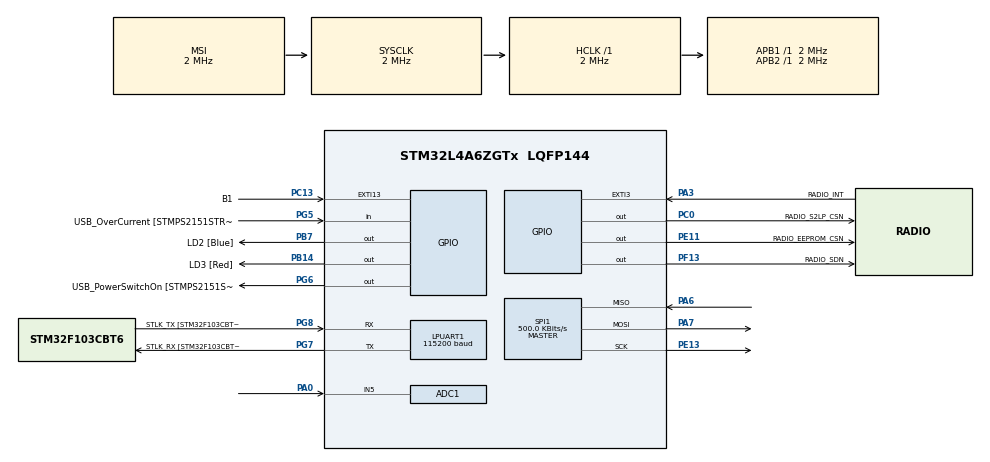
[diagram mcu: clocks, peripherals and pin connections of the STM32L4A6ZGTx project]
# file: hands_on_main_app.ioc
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ADC1.Channel-0\#ChannelRegularConversion=ADC_CHANNEL_5
ADC1.ClockPrescaler=ADC_CLOCK_ASYNC_DIV10
ADC1.DMAContinuousRequests=ENABLE
ADC1.ExternalTrigConv=ADC_EXTERNALTRIG_T3_TRGO
ADC1.NbrOfConversionFlag=1
ADC1.OffsetNumber-0\#ChannelRegularConversion=ADC_OFFSET_NONE
ADC1.Rank-0\#ChannelRegularConversion=1
ADC1.SamplingTime-0\#ChannelRegularConversion=ADC_SAMPLETIME_2CYCLES_5
ADC1.master=1
AES.Data\ encryption\ types\ list=AESCBC
AES.DataType=CRYP_DATATYPE_8B
AES.KeyWriteFlag=CRYP_KEY_WRITE_ENABLE
Dma.ADC1.0.Direction=DMA_PERIPH_TO_MEMORY
Dma.ADC1.0.Instance=DMA1_Channel1
Dma.ADC1.0.MemDataAlignment=DMA_MDATAALIGN_HALFWORD
Dma.ADC1.0.MemInc=DMA_MINC_ENABLE
Dma.ADC1.0.Mode=DMA_CIRCULAR
Dma.ADC1.0.PeriphDataAlignment=DMA_PDATAALIGN_HALFWORD
Dma.ADC1.0.PeriphInc=DMA_PINC_DISABLE
Dma.ADC1.0.Priority=DMA_PRIORITY_LOW
Dma.Request0=ADC1
LPUART1.AutoBaudRateEnableParam=UART_ADVFEATURE_AUTOBAUDRATE_DISABLE
LPUART1.BaudRate=115200
LPUART1.DMADisableonRxErrorParam=UART_ADVFEATURE_DMA_ENABLEONRXERROR
LPUART1.DataInvertParam=UART_ADVFEATURE_DATAINV_DISABLE
LPUART1.MSBFirstParam=UART_ADVFEATURE_MSBFIRST_DISABLE
LPUART1.Mode=UART_MODE_TX_RX
LPUART1.OneBitSampling=UART_ONE_BIT_SAMPLE_DISABLE
LPUART1.OverrunDisableParam=UART_ADVFEATURE_OVERRUN_ENABLE
LPUART1.Parity=UART_PARITY_NONE
LPUART1.RxPinLevelInvertParam=UART_ADVFEATURE_RXINV_DISABLE
LPUART1.StopBits=UART_STOPBITS_1
LPUART1.SwapParam=UART_ADVFEATURE_SWAP_DISABLE
LPUART1.TxPinLevelInvertParam=UART_ADVFEATURE_TXINV_DISABLE
LPUART1.WordLength=UART_WORDLENGTH_8B
Mcu.Family=STM32L4
Mcu.Name=STM32L4A6ZGTx
Mcu.Package=LQFP144
NVIC.DMA1_Channel1_IRQn=true\:1\:0\:true\:false\:true\:false\:true\:true
NVIC.EXTI15_10_IRQn=true\:0\:0\:false\:false\:true\:true\:true\:true
NVIC.EXTI3_IRQn=true\:0\:0\:false\:false\:true\:true\:true\:true
NVIC.PriorityGroup=NVIC_PRIORITYGROUP_4
NVIC.TIM3_IRQn=true\:0\:0\:true\:false\:true\:true\:true\:true
PA0.Signal=ADCx_IN5
PA10.GPIO_Label=USB_ID
PA10.Signal=USB_OTG_FS_ID
PA11.GPIO_Label=USB_DM
PA11.Signal=USB_OTG_FS_DM
PA12.GPIO_Label=USB_DP
PA12.Signal=USB_OTG_FS_DP
PA13\ (JTMS/SWDIO).GPIO_Label=TMS
PA13\ (JTMS/SWDIO).Mode=Trace_Asynchronous_SW
PA13\ (JTMS/SWDIO).Signal=SYS_JTMS-SWDIO
PA14\ (JTCK/SWCLK).GPIO_Label=TCK
PA14\ (JTCK/SWCLK).Mode=Trace_Asynchronous_SW
PA14\ (JTCK/SWCLK).Signal=SYS_JTCK-SWCLK
PA3.GPIO_Label=RADIO_INT
PA3.GPIO_ModeDefaultEXTI=GPIO_MODE_IT_FALLING
PA3.Signal=GPXTI3
PA6.Mode=Full_Duplex_Master
PA6.Signal=SPI1_MISO
PA7.Mode=Full_Duplex_Master
PA7.Signal=SPI1_MOSI
PA8.GPIO_Label=USB_SOF [TP1]
PA8.Signal=USB_OTG_FS_SOF
PA9.GPIO_Label=USB_VBUS
PA9.Signal=USB_OTG_FS_VBUS
PB14.GPIO_Label=LD3 [Red]
PB14.Signal=GPIO_Output
PB3\ (JTDO/TRACESWO).GPIO_Label=SWO
PB3\ (JTDO/TRACESWO).Mode=Trace_Asynchronous_SW
PB3\ (JTDO/TRACESWO).Signal=SYS_JTDO-SWO
PB7.GPIO_Label=LD2 [Blue]
PB7.Signal=GPIO_Output
PC0.GPIO_Label=RADIO_S2LP_CSN
PC0.GPIO_Speed=GPIO_SPEED_FREQ_VERY_HIGH
PC0.PinState=GPIO_PIN_SET
PC0.Signal=GPIO_Output
PC13.GPIO_Label=B1
PC13.GPIO_ModeDefaultEXTI=GPIO_MODE_IT_RISING
PC13.Signal=GPXTI13
PC14-OSC32_IN\ (PC14).Mode=LSE-External-Oscillator
PC14-OSC32_IN\ (PC14).Signal=RCC_OSC32_IN
PC15-OSC32_OUT\ (PC15).Mode=LSE-External-Oscillator
PC15-OSC32_OUT\ (PC15).Signal=RCC_OSC32_OUT
PE11.GPIO_Label=RADIO_EEPROM_CSN
PE11.PinState=GPIO_PIN_SET
PE11.Signal=GPIO_Output
PE13.Mode=Full_Duplex_Master
PE13.Signal=SPI1_SCK
PF13.GPIO_Label=RADIO_SDN
PF13.PinState=GPIO_PIN_SET
PF13.Signal=GPIO_Output
PG5.GPIO_Label=USB_OverCurrent [STMPS2151STR_FAULT]
PG5.Signal=GPIO_Input
PG6.GPIO_Label=USB_PowerSwitchOn [STMPS2151STR_EN]
PG6.Signal=GPIO_Output
PG7.GPIO_Label=STLK_RX [STM32F103CBT6_PA3]
PG7.Mode=Asynchronous
PG7.Signal=LPUART1_TX
PG8.GPIO_Label=STLK_TX [STM32F103CBT6_PA2]
PG8.Mode=Asynchronous
PG8.Signal=LPUART1_RX
PH1-OSC_OUT\ (PH1).Signal=RCC_OSC_OUT
ProjectManager.HeapSize=0x200
ProjectManager.StackSize=0x400
ProjectManager.TargetToolchain=STM32CubeIDE
RCC.ADCCLockSelection=RCC_ADCCLKSOURCE_SYSCLK
RCC.ADCFreq_Value=2000000
RCC.AHBFreq_Value=2000000
RCC.APB1Freq_Value=2000000
RCC.APB1TimFreq_Value=2000000
RCC.APB2Freq_Value=2000000
RCC.APB2TimFreq_Value=2000000
RCC.CortexFreq_Value=2000000
RCC.FLatency=FLASH_LATENCY_0
RCC.HCLKFreq_Value=2000000
RCC.HSE_VALUE=8000000
RCC.HSI48_VALUE=48000000
RCC.HSI_VALUE=16000000
RCC.LPUART1CLockSelection=RCC_LPUART1CLKSOURCE_SYSCLK
RCC.MSIClockRange=RCC_MSIRANGE_5
RCC.MSI_VALUE=2000000
RCC.PLLN=24
RCC.PLLSAI1N=24
RCC.PWR_Regulator_Voltage_Scale=PWR_REGULATOR_VOLTAGE_SCALE2
RCC.SYSCLKFreq_VALUE=2000000
RCC.USBFreq_Value=24000000
RCC.VCOOutputFreq_Value=48000000
SH.ADCx_IN5.0=ADC1_IN5,IN5-Single-Ended
SPI1.BaudRatePrescaler=SPI_BAUDRATEPRESCALER_4
SPI1.CalculateBaudRate=500.0 KBits/s
SPI1.DataSize=SPI_DATASIZE_8BIT
SPI1.Direction=SPI_DIRECTION_2LINES
SPI1.Mode=SPI_MODE_MASTER
SPI1.VirtualType=VM_MASTER
TIM3.Period=97
TIM3.Prescaler=1
TIM3.TIM_MasterOutputTrigger=TIM_TRGO_UPDATE
VP_AES_VS_AES.Mode=AES_Activate
VP_TIM3_VS_ClockSourceINT.Mode=Internal
board=NUCLEO-L4A6ZG

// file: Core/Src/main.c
/* USER CODE BEGIN Header */
/**
  ******************************************************************************
  * @file           : main.c
  * @brief          : Main program body
  ******************************************************************************
  * @attention
  *
  * <h2><center>&copy; Copyright (c) 2021 STMicroelectronics.
  * All rights reserved.</center></h2>
  *
  * This software component is licensed by ST under BSD 3-Clause license,
  * the "License"; You may not use this file except in compliance with the
  * License. You may obtain a copy of the License at:
  *                        opensource.org/licenses/BSD-3-Clause
  *
  ******************************************************************************
  */
/* USER CODE END Header */
#include "main.h"
#include "adc.h"
#include "aes.h"
#include "dma.h"
#include "spi.h"
#include "tim.h"
#include "gpio.h"

/* USER CODE BEGIN Includes */
#include <stdio.h>
#include <string.h>
#include "arm_math.h"
#include "adc_dblbuf.h"
#include "retarget.h"
#include "s2lp.h"
#include "spectrogram.h"
#include "eval_radio.h"
#include "eval_specgram.h"
#include "packet.h"
#include "config.h"
#include "utils.h"
#include "usart.h"

/* USER CODE END Includes */

/* USER CODE BEGIN PV */

volatile uint8_t btn_press;

/* USER CODE END PV */

void SystemClock_Config(void);

/* USER CODE BEGIN 0 */

void HAL_GPIO_EXTI_Callback(uint16_t GPIO_Pin)
{
	if (GPIO_Pin == B1_Pin) {
		btn_press = 1;
	}
	else if (GPIO_Pin == RADIO_INT_Pin)
		S2LP_IRQ_Handler();
}

static void acquire_and_send_packet() {
	if (StartADCAcq(N_MELVECS) != HAL_OK) {
		DEBUG_PRINT("Error while enabling the DMA\r\n");
	}
	while (!IsADCFinished()) {
//		FLASH->ACR |= (1 << 14);
		__WFI();
//		FLASH->ACR &= ~(1 << 14);
	}
}

void run(void)
{

	while (1)
	{
#if (CONTINUOUS_ACQ == 1)
		acquire_and_send_packet();
#elif (CONTINUOUS_ACQ == 0)
	if (btn_press){
	  acquire_and_send_packet();
	  btn_press = 0;
	}
#else
#error "Wrong value for CONTINUOUS_ACQ."
#endif
	}
}

/* USER CODE END 0 */

int main(void)
{

  /* MCU Configuration--------------------------------------------------------*/

  /* Reset of all peripherals, Initializes the Flash interface and the Systick. */
  HAL_Init();

  /* Configure the system clock */
  SystemClock_Config();

  /* USER CODE BEGIN SysInit */
  RCC->AHB1SMENR &= ~(1 << 9); // deactivate SRAM1 (has to be after the RCC is initialized) (SystemClock_Config() initialized it)
  PWR->CR1 |= (1 << 14); // set the low power run bit (LPR)
//  HAL_DBGMCU_DisableDBGStopMode();
  /* USER CODE END SysInit */

  /* Initialize all configured peripherals */
  MX_GPIO_Init();
  MX_DMA_Init();
  MX_SPI1_Init();
  MX_TIM3_Init();
  MX_ADC1_Init();
  MX_AES_Init();
  /* USER CODE BEGIN 2 */
  if (ENABLE_UART) {
	  MX_LPUART1_UART_Init();
  }

  RetargetInit(&hlpuart1);
  DEBUG_PRINT("Hello world\r\n");

#if ENABLE_RADIO
  // Enable S2LP Radio
  HAL_StatusTypeDef err = S2LP_Init(&hspi1);
  if (err)  {
	  DEBUG_PRINT("[S2LP] Error while initializing: %u\r\n", err);
	  Error_Handler();
  } else {
	  DEBUG_PRINT("[S2LP] Init OK\r\n");
  }
#endif

  if (HAL_ADCEx_Calibration_Start(&hadc1, ADC_SINGLE_ENDED) != HAL_OK) {
	  DEBUG_PRINT("Error while calibrating the ADC\r\n");
	  Error_Handler();
  }
  if (HAL_TIM_Base_Start(&htim3) != HAL_OK) {
	  DEBUG_PRINT("Error while enabling timer TIM3\r\n");
	  Error_Handler();
  }
  /* USER CODE END 2 */

  /* Infinite loop */
  /* USER CODE BEGIN WHILE */
#if (RUN_CONFIG == MAIN_APP)
  run();
#elif (RUN_CONFIG == EVAL_RADIO)
  eval_radio();
#elif (RUN_CONFIG == EVAL_SPECGRAM)
#if CONTINUOUS_ACQ
  eval_spectrogram();
#else
  while(1){
	  if (btn_press){
		  eval_spectrogram();
		  btn_press = 0;
	  }
  }
#endif
#else
#error "Wrong value for RUN_CONFIG."
#endif

    /* USER CODE END WHILE */

}

void SystemClock_Config(void)
{
  RCC_OscInitTypeDef RCC_OscInitStruct = {0};
  RCC_ClkInitTypeDef RCC_ClkInitStruct = {0};

  /** Configure the main internal regulator output voltage
  */
  if (HAL_PWREx_ControlVoltageScaling(PWR_REGULATOR_VOLTAGE_SCALE2) != HAL_OK)
  {
    Error_Handler();
  }

  /** Initializes the RCC Oscillators according to the specified parameters
  * in the RCC_OscInitTypeDef structure.
  */
  RCC_OscInitStruct.OscillatorType = RCC_OSCILLATORTYPE_MSI;
  RCC_OscInitStruct.MSIState = RCC_MSI_ON;
  RCC_OscInitStruct.MSICalibrationValue = 0;
  RCC_OscInitStruct.MSIClockRange = RCC_MSIRANGE_5;
  RCC_OscInitStruct.PLL.PLLState = RCC_PLL_NONE;
  if (HAL_RCC_OscConfig(&RCC_OscInitStruct) != HAL_OK)
  {
    Error_Handler();
  }

  /** Initializes the CPU, AHB and APB buses clocks
  */
  RCC_ClkInitStruct.ClockType = RCC_CLOCKTYPE_HCLK|RCC_CLOCKTYPE_SYSCLK
                              |RCC_CLOCKTYPE_PCLK1|RCC_CLOCKTYPE_PCLK2;
  RCC_ClkInitStruct.SYSCLKSource = RCC_SYSCLKSOURCE_MSI;
  RCC_ClkInitStruct.AHBCLKDivider = RCC_SYSCLK_DIV1;
  RCC_ClkInitStruct.APB1CLKDivider = RCC_HCLK_DIV1;
  RCC_ClkInitStruct.APB2CLKDivider = RCC_HCLK_DIV1;

  if (HAL_RCC_ClockConfig(&RCC_ClkInitStruct, FLASH_LATENCY_0) != HAL_OK)
  {
    Error_Handler();
  }
}

void Error_Handler(void)
{
  /* USER CODE BEGIN Error_Handler_Debug */
  __disable_irq();
  DEBUG_PRINT("Entering error Handler\r\n");
  while (1)
  {
	  // Blink LED3 (red)
	  HAL_GPIO_WritePin(GPIOB, LD3_Pin, GPIO_PIN_SET);
	  for (volatile int i=0; i < SystemCoreClock/200; i++);
	  HAL_GPIO_WritePin(GPIOB, LD3_Pin, GPIO_PIN_RESET);
	  for (volatile int i=0; i < SystemCoreClock/200; i++);
  }
  /* USER CODE END Error_Handler_Debug */
}

#ifdef  USE_FULL_ASSERT
/**
  * @brief  Reports the name of the source file and the source line number
  *         where the assert_param error has occurred.
  * @param  file: pointer to the source file name
  * @param  line: assert_param error line source number
  * @retval None
  */
void assert_failed(uint8_t *file, uint32_t line)
{
  /* USER CODE BEGIN 6 */
  /* User can add his own implementation to report the file name and line number,
     ex: DEBUG_PRINT("Wrong parameters value: file %s on line %d\r\n", file, line) */
  /* USER CODE END 6 */
}
#endif /* USE_FULL_ASSERT */
